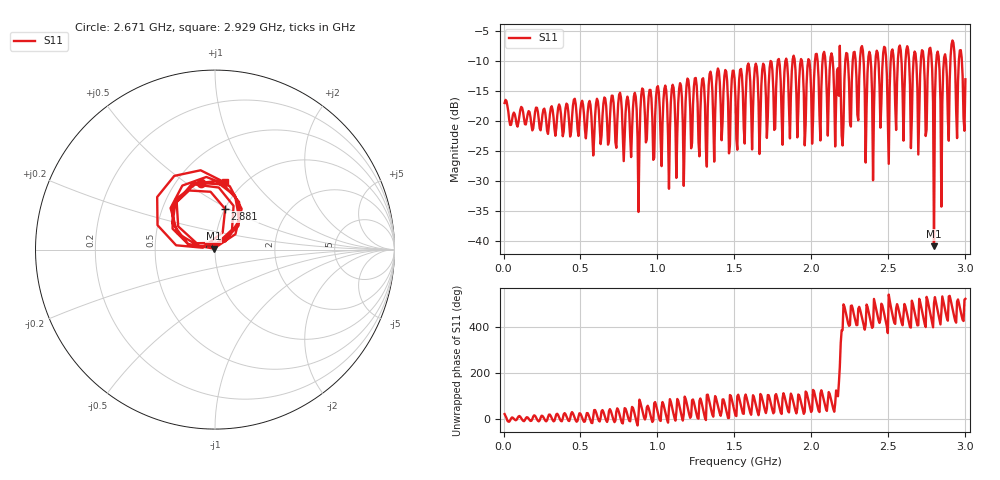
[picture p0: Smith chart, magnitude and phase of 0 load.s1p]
! NanoVNA-App by SYSJOINT et al v1.1.209 (+OD18)
! Date: 2025-09-17 09:44:52
! Start: 1MHz Stop: 3.001GHz Points: 501
! S-Parameter data: F S11
# Hz S RI R 50
!  Frequency  S11_Real  S11_Imag
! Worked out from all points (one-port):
!   500 points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, 7 MHz to 3.001 GHz, reference 50 ohm
!   lowest |S11| = -40.9 dB at 2.797 GHz (marker M1), VSWR 1.02, Z = 49.3 + j0.55 ohm
!   |S11| at or under -10 dB: start of sweep to 1.735 GHz; 1.735 GHz to 1.782 GHz (47.01 MHz wide, 2.67 % of centre); 1.791 GHz to 1.831 GHz (40.37 MHz wide, 2.23 % of centre) (the widest 3 of 27)
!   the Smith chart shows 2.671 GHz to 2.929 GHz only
!   S11 on the Smith chart (normalised r, x): 2.671 GHz: 0.66, +0.57; 2.881 GHz: 1.00, +0.48; 2.929 GHz: 0.83, +0.72
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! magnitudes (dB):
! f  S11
! 7 MHz  -17.0
! 385 MHz  -22.5
! 757 MHz  -15.3
! 877 MHz  -35.2
! 901 MHz  -14.6
! 1.135 GHz  -17.0
! 1.297 GHz  -12.9
! 1.321 GHz  -27.6
! 1.393 GHz  -11.2
! 1.507 GHz  -16.0
! 1.879 GHz  -9.7
! 2.257 GHz  -20.9
! 2.329 GHz  -7.5
! 2.401 GHz  -29.9
! 2.425 GHz  -8.3
! 2.503 GHz  -27.2
! 2.527 GHz  -8.1
! 2.629 GHz  -8.1
! 2.647 GHz  -24.5
! 2.671 GHz  -8.4
! 2.695 GHz  -25.6
! 2.773 GHz  -7.8
! 2.797 GHz  -40.9
! 2.821 GHz  -8.4
! 2.839 GHz  -16.7
! 2.881 GHz  -12.6
! 2.929 GHz  -8.4
! 3.001 GHz  -13.1
